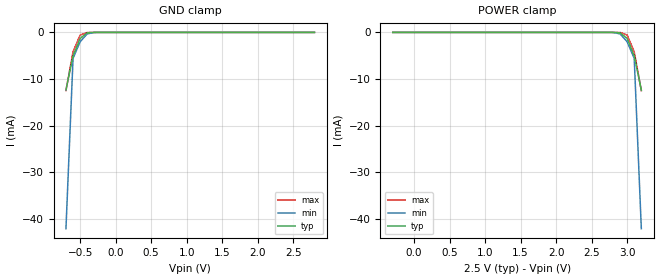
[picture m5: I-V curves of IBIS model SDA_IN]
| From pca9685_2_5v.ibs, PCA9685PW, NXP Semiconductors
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[Model]   SDA_IN
Model_type Input
Vinh=1.75
Vinl=0.75
C_comp   1.3p   1.2p   1.4p
[Temperature Range] 27   85   -40
[Voltage Range]   2.5   2.2   2.8
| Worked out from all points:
|   GND clamp passes 1 mA (typ) near -0.48 V on its own axis
[GND Clamp]
-700mV    -12.37mA   -42.13mA   -12.51mA
-600mV    -5.049mA   -5.581mA   -4.179mA
-500mV    -1.287mA   -1.998mA   -563.1uA
-400mV    -108.9uA   -316.6uA   -15.93uA
-300mV    -2.987uA   -15.37uA   -173.2nA
-200mV    -52.85nA   -396.6nA   -1.479nA
2.8V      231.8pA    538.6pA    205.7pA
[POWER Clamp]
-300mV    231.8pA    538.6pA    205.7pA
2.7V      -52.85nA   -396.6nA   -1.479nA
2.8V      -2.987uA   -15.37uA   -173.2nA
2.9V      -108.9uA   -316.6uA   -15.93uA
3V        -1.287mA   -1.998mA   -563.1uA
3.1V      -5.049mA   -5.581mA   -4.179mA
3.2V      -12.37mA   -42.13mA   -12.51mA
